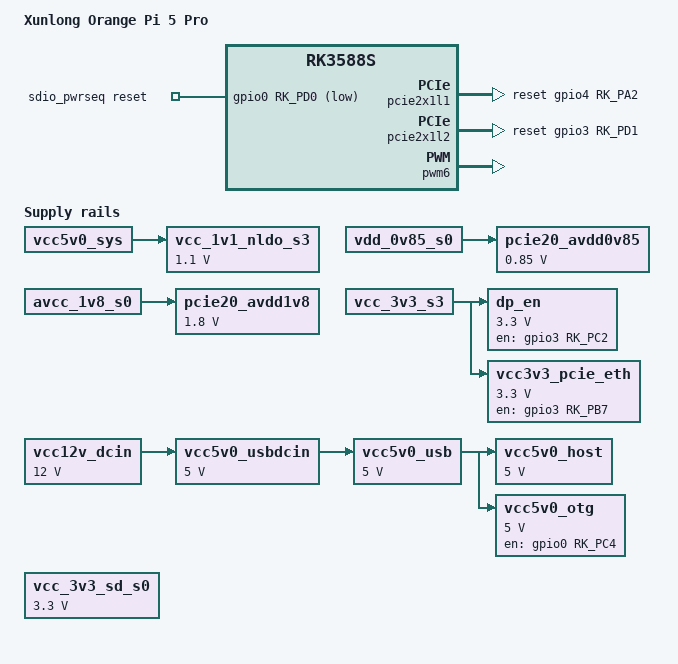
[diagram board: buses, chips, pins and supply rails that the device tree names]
// SPDX-License-Identifier: (GPL-2.0+ OR MIT)

/dts-v1/;

#include "rk3588s-orangepi-5.dtsi"

/ {
	model = "Xunlong Orange Pi 5 Pro";
	compatible = "xunlong,orangepi-5-pro", "rockchip,rk3588s";

	vcc12v_dcin: vcc12v-dcin {
		compatible = "regulator-fixed";
		regulator-name = "vcc12v_dcin";
		regulator-always-on;
		regulator-boot-on;
		regulator-min-microvolt = <12000000>;
		regulator-max-microvolt = <12000000>;
	};

	vcc5v0_usbdcin: vcc5v0-usbdcin {
		compatible = "regulator-fixed";
		regulator-name = "vcc5v0_usbdcin";
		regulator-always-on;
		regulator-boot-on;
		regulator-min-microvolt = <5000000>;
		regulator-max-microvolt = <5000000>;
		vin-supply = <&vcc12v_dcin>;
	};

	vcc5v0_usb: vcc5v0-usb {
		compatible = "regulator-fixed";
		regulator-name = "vcc5v0_usb";
		regulator-always-on;
		regulator-boot-on;
		regulator-min-microvolt = <5000000>;
		regulator-max-microvolt = <5000000>;
		vin-supply = <&vcc5v0_usbdcin>;
	};

	vcc_1v1_nldo_s3: regulator-vcc-1v1-nldo-s3 {
		compatible = "regulator-fixed";
		regulator-name = "vcc_1v1_nldo_s3";
		regulator-always-on;
		regulator-boot-on;
		regulator-min-microvolt = <1100000>;
		regulator-max-microvolt = <1100000>;
		vin-supply = <&vcc5v0_sys>;
	};

	vcc_3v3_sd_s0: regulator-vcc-3v3-sd-s0 {
		compatible = "regulator-fixed";
		regulator-name = "vcc_3v3_sd_s0";
		regulator-min-microvolt = <3300000>;
		regulator-max-microvolt = <3300000>;
	};

	pcie20_avdd0v85: pcie20-avdd0v85 {
		compatible = "regulator-fixed";
		regulator-name = "pcie20_avdd0v85";
		regulator-boot-on;
		regulator-always-on;
		regulator-min-microvolt = <850000>;
		regulator-max-microvolt = <850000>;
		vin-supply = <&vdd_0v85_s0>;
	};

	pcie20_avdd1v8: pcie20-avdd1v8 {
		compatible = "regulator-fixed";
		regulator-name = "pcie20_avdd1v8";
		regulator-boot-on;
		regulator-always-on;
		regulator-min-microvolt = <1800000>;
		regulator-max-microvolt = <1800000>;
		vin-supply = <&avcc_1v8_s0>;
	};

	dp_en: dp-en {
		compatible = "regulator-fixed";
		regulator-name = "dp_en";
		regulator-min-microvolt = <3300000>;
		regulator-max-microvolt = <3300000>;
		enable-active-high;
		regulator-boot-on;
		regulator-always-on;
		gpios = <&gpio3 RK_PC2 GPIO_ACTIVE_HIGH>;
		vin-supply = <&vcc_3v3_s3>;
	};

	vcc5v0_host: regulator-vcc5v0-host {
		compatible = "regulator-fixed";
		regulator-name = "vcc5v0_host";
		regulator-boot-on;
		regulator-always-on;
		regulator-min-microvolt = <5000000>;
		regulator-max-microvolt = <5000000>;
		vin-supply = <&vcc5v0_usb>;
	};

	vcc5v0_otg: regulator-vcc5v0-otg {
		compatible = "regulator-fixed";
		regulator-name = "vcc5v0_otg";
		regulator-min-microvolt = <5000000>;
		regulator-max-microvolt = <5000000>;
		enable-active-high;
		gpio = <&gpio0 RK_PC4 GPIO_ACTIVE_HIGH>;
		pinctrl-names = "default";
		pinctrl-0 = <&vcc5v0_otg_en>;
		vin-supply = <&vcc5v0_usb>;
	};

	vcc3v3_pcie_eth: vcc3v3-pcie-eth {
		compatible = "regulator-fixed";
		regulator-name = "vcc3v3_pcie_eth";
		regulator-min-microvolt = <3300000>;
		regulator-max-microvolt = <3300000>;
		regulator-boot-on;
		regulator-always-on;
		enable-active-high;
		gpios = <&gpio3 RK_PB7 GPIO_ACTIVE_LOW>;
		vin-supply = <&vcc_3v3_s3>;
	};

	sdio_pwrseq: sdio-pwrseq {
		compatible = "mmc-pwrseq-simple";
		clocks = <&hym8563>;
		clock-names = "ext_clock";
		pinctrl-names = "default";
		pinctrl-0 = <&wifi_enable_h>;
		/*
		 * On the module itself this is one of these (depending
		 * on the actual card populated):
		 * - SDIO_RESET_L_WL_REG_ON
		 * - PDN (power down when low)
		 */
		post-power-on-delay-ms = <200>;
		reset-gpios = <&gpio0 RK_PD0 GPIO_ACTIVE_LOW>;
	};
};

&vcc5v0_sys {
	vin-supply = <&vcc12v_dcin>;
};

//phy2
&pcie2x1l1 {
	reset-gpios = <&gpio4 RK_PA2 GPIO_ACTIVE_HIGH>;
	status = "okay";
};

//phy0
&pcie2x1l2 {
	reset-gpios = <&gpio3 RK_PD1 GPIO_ACTIVE_HIGH>;
	status = "okay";
};

&pwm6 {
	pinctrl-names = "active";
	pinctrl-0 = <&pwm6m0_pins>;
	status = "okay";
};

&pinctrl {
	sdio-pwrseq {
		wifi_enable_h: wifi-enable-h {
			rockchip,pins = <0 RK_PD0 RK_FUNC_GPIO &pcfg_pull_none>;
		};
	};

	usb {
		vcc5v0_otg_en: vcc5v0-otg-en {
			rockchip,pins = <0 RK_PC4 RK_FUNC_GPIO &pcfg_pull_none>;
		};
	};
};
